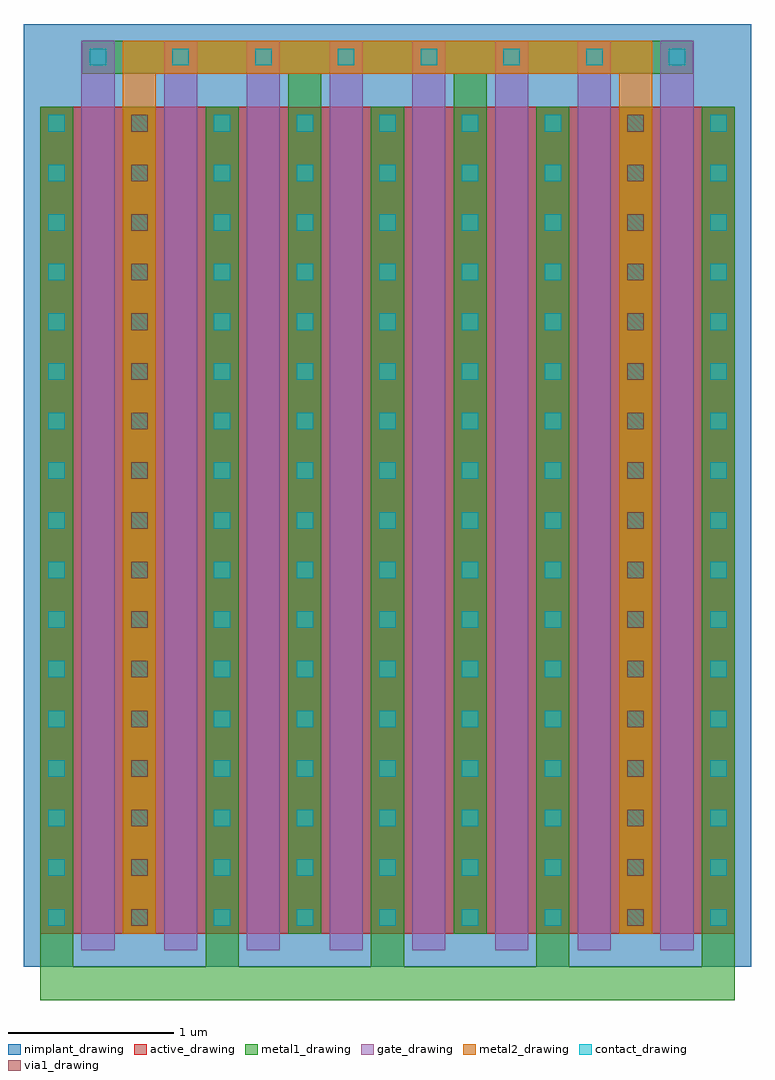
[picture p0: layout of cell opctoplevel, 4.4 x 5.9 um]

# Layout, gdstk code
import gdstk
lib = gdstk.Library(unit=1e-6, precision=1e-09)
def R(c, l, rs):  # rectangles x0, y0, x1, y1
    for r in rs: c.add(gdstk.rectangle(r[:2], r[2:], *l))
def A(c, l, x, y, w, h, nx, ny, dx, dy):  # array of equal rectangles
    R(c, l, [(x+i*dx, y+j*dy, x+i*dx+w, y+j*dy+h) for i in range(nx) for j in range(ny)])
active_drawing = (1, 0)
nimplant_drawing = (5, 0)
gate_drawing = (6, 0)
contact_drawing = (7, 0)
metal1_drawing = (8, 0)
via1_drawing = (9, 0)
metal2_drawing = (10, 0)

opctoplevel = lib.new_cell('opctoplevel')
R(opctoplevel, active_drawing, [(-1.25,0,-0.05,5), (-0.25,0,1.95,5), (1.75,0,2.95,5)])
R(opctoplevel, nimplant_drawing, [(-1.35,-0.2,0.05,5.5), (-0.35,-0.2,2.05,5.5), (1.65,-0.2,3.05,5.5)])
A(opctoplevel, gate_drawing, -1, -0.1, 0.2, 5.5, 8, 1, 0.5, 0)
A(opctoplevel, contact_drawing, -1.2, 0.05, 0.1, 0.1, 3, 17, 0.5, 0.3)
A(opctoplevel, contact_drawing, -0.2, 0.05, 0.1, 0.1, 5, 17, 0.5, 0.3)
A(opctoplevel, contact_drawing, 1.8, 0.05, 0.1, 0.1, 3, 17, 0.5, 0.3)
A(opctoplevel, contact_drawing, -0.95, 5.25, 0.1, 0.1, 8, 1, 0.5, 0)
A(opctoplevel, metal1_drawing, -0.25, -0.2, 0.2, 0.2, 3, 1, 1, 0)
A(opctoplevel, metal1_drawing, -1.25, 0, 0.2, 5, 3, 1, 0.5, 0)
A(opctoplevel, metal1_drawing, -0.25, 0, 0.2, 5, 5, 1, 0.5, 0)
A(opctoplevel, metal1_drawing, 1.75, 0, 0.2, 5, 3, 1, 0.5, 0)
R(opctoplevel, metal1_drawing, [(-1.25,-0.4,-0.05,-0.2), (-0.25,-0.4,1.95,-0.2), (1.75,-0.4,2.95,-0.2), (-1.25,-0.2,-1.05,0), (-0.25,-0.2,-0.05,0), (1.75,-0.2,1.95,0), (2.75,-0.2,2.95,0), (0.25,5,0.45,5.2), (1.25,5,1.45,5.2), (-1,5.2,-0.3,5.4), (-0.3,5.2,2,5.4), (0,5.2,1.7,5.4), (2,5.2,2.7,5.4)])
A(opctoplevel, via1_drawing, -0.7, 0.05, 0.1, 0.1, 1, 17, 0, 0.3)
A(opctoplevel, via1_drawing, 2.3, 0.05, 0.1, 0.1, 1, 17, 0, 0.3)
R(opctoplevel, metal2_drawing, [(-0.75,0,-0.55,5), (2.25,0,2.45,5), (-0.75,5,-0.55,5.2), (2.25,5,2.45,5.2), (-0.75,5.2,-0.55,5.4), (-0.55,5.2,2.25,5.4), (2.25,5.2,2.45,5.4)])

lib.write_gds('opctoplevel.gds')
